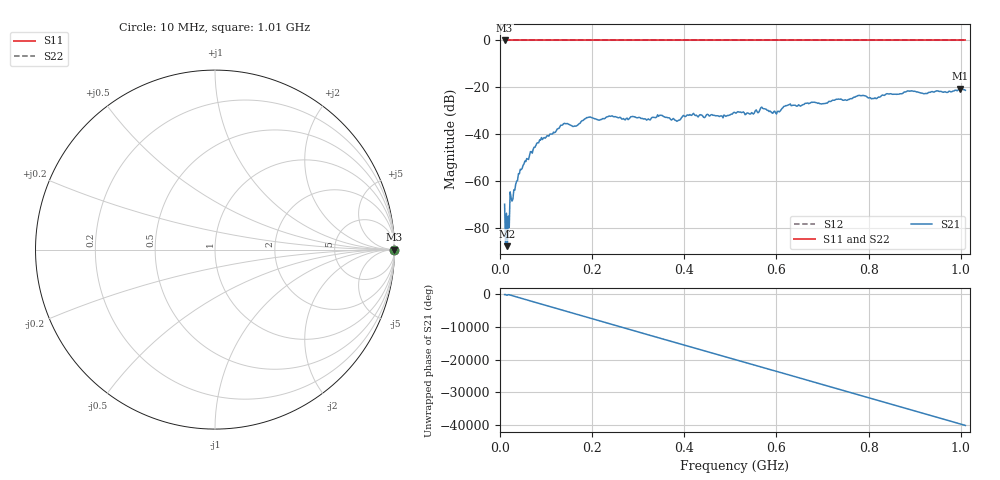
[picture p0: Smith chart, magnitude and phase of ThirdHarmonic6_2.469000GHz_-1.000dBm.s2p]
! 8/17/2025 4:31:55 AM
! C:\ANRITSUVNA\TEMP\TEMP.S2P
! CHANNEL.1
! TR.MEASUREMENT
! RAW.DATA
! RF.CORRECTION.OFF
! AVERAGING.OFF
! IF.BANDWIDTH: 5KHZ
! SWEEPTYPE:  FREQ.SWEEP(Linear)
! Reference Plane Port Info
! PORT:  PORT1  PORT2
! DISTANCE:  0  m  0  m
! TIME:  0  s  0  s
! PHASE.OFFSET:  0  deg.  0  deg.
! LOSS:  0  dB  0  dB
! REF.LOSS:  0  dB  0  dB
! REF.FREQ:  0  Hz  0  Hz
! Power Info
! POWER:  -20  dBm  -20  dBm
! EFF.POWER:  -20  dBm  -20  dBm
! SOURCE.ATTEN:  0  dB  0  dB
! TEST.ATTEN:  0  dB  0  dB
# GHZ S RI R 50.0
! FREQ.GHZ  S11RE  S11IM  S21RE  S21IM  S12RE  S12IM  S22RE  S22IM
!; PortSelection: Port_12
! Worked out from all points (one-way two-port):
!   501 points, 10 MHz to 1.01 GHz, reference 50 ohm
!   highest |S21| = -20.51 dB at 998 MHz (marker M1); lowest = -87.5 dB at 16 MHz (marker M2)
!   lowest |S11| = 0.0 dB at 10 MHz (marker M3)
!   |S11| at or under -10 dB: nowhere
!   |S22| runs from 0.0 to 0.0 dB; largest |S21 - S12| = 1.1
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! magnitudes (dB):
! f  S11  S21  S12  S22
! 10 MHz  0.0  -69.7  0.0  0.0
! 16 MHz  0.0  -87.5  0.0  0.0
! 26 MHz  0.0  -68.4  0.0  0.0
! 40 MHz  0.0  -56.7  0.0  0.0
! 78 MHz  0.0  -44.6  0.0  0.0
! 136 MHz  0.0  -35.9  0.0  0.0
! 162 MHz  0.0  -36.4  0.0  0.0
! 178 MHz  0.0  -34.1  0.0  0.0
! 192 MHz  0.0  -32.7  0.0  0.0
! 322 MHz  0.0  -33.4  0.0  0.0
! 344 MHz  0.0  -32.3  0.0  0.0
! 384 MHz  0.0  -34.4  0.0  0.0
! 416 MHz  0.0  -31.9  0.0  0.0
! 510 MHz  0.0  -30.7  0.0  0.0
! 546 MHz  0.0  -30.7  0.0  0.0
! 570 MHz  0.0  -28.9  0.0  0.0
! 602 MHz  0.0  -30.2  0.0  0.0
! 626 MHz  0.0  -27.4  0.0  0.0
! 678 MHz  0.0  -26.3  0.0  0.0
! 844 MHz  0.0  -22.8  0.0  0.0
! 998 MHz  0.0  -20.5  0.0  0.0
! 1.01 GHz  0.0  -21.2  0.0  0.0
